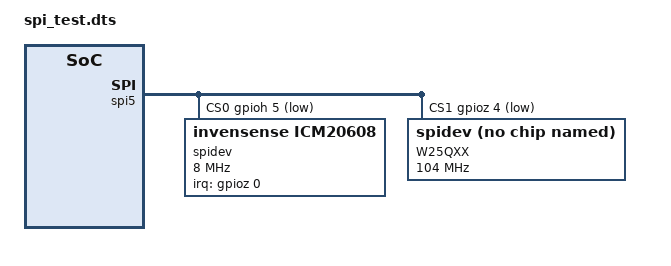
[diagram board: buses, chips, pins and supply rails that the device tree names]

//使用扩展板的SPI_A引脚
//编辑arch/arm/boot/dts/stm32mp157c-100ask-512d-lcd-v1.dts
//补充成下面这样

//cs-gpios 里有多个用于片选的gpio引脚，与子节点中reg=<>,的序号对应

&spi5 {
        pinctrl-names = "default", "sleep";
        pinctrl-0 = <&spi5_pins_a>;
        pinctrl-1 = <&spi5_sleep_pins_a>;
        status = "okay";
        cs-gpios = <&gpioh 5 GPIO_ACTIVE_LOW>, <&gpioz 4 GPIO_ACTIVE_LOW>;
        spidev: icm20608@0{
                compatible = "invensense,icm20608";
                interrupts = <0 IRQ_TYPE_EDGE_FALLING>;
                interrupt-parent = <&gpioz>;
                spi-max-frequency = <8000000>;
                reg = <0>; //表示使用cs-gpios内第0个
        };

	W25QXX: W25QXX@1 {
		compatible = "spidev";
		spi-max-frequency = <104000000>; //这里用的公司的一个flash模块w25q128，频率为104MHZ
                reg = <1>;//表示使用cs-gpios内第1个
	};

};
